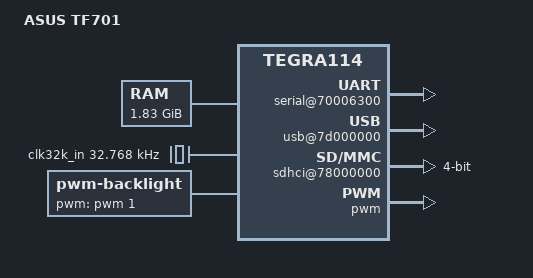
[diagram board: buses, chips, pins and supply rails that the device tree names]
/dts-v1/;

#include "tegra114.dtsi"

/ {
	model = "ASUS TF701";
	compatible = "nvidia,tegra114";

	chosen {
		/*bootargs = "console=tty1 earlyprintk ignore_loglevel gpt fbcon=rotate:1 initrd=0x82000000,0x800000";*/
		/*bootargs = "console=ttyS0,115200n8 console=tty1 earlyprintk ignore_loglevel gpt fbcon=rotate:1 initrd=0x82000000,0x800000";*/
		bootargs = "console=tty1 console=ttyS0,115200n8 earlyprintk no_console_suspend=1 gpt gpt_sector=73727";
	};

	firmware {
		trusted-foundations {
			compatible = "tlm,trusted-foundations";
			tlm,version-major = <2>;
			tlm,version-minor = <8>;
		};
	};

	memory {
		reg = <0x80000000 0x2ce00000
		       /* hole for bootloader-initialized framebuffer */
		       0xaf000000 0x48000000>;
	};


	serial@70006300 {
		status = "okay";
	};

	gpio@6000d000 {
		compatible = "nvidia,tegra114-gpio", "nvidia,tegra30-gpio";
		reg = <0x6000d000 0x1000>;
		interrupts = <0 32 0x04
				0 33 0x04
				0 34 0x04
				0 35 0x04
				0 55 0x04
				0 87 0x04
				0 89 0x04
				0 125 0x04>;
		#gpio-cells = <2>;
		gpio-controller;
		#interrupt-cells = <2>;
		interrupt-controller;
		status = "disabled";
	};


	i2c@7000c000 {
		#address-cells = <1>;
		#size-cells = <0>;
		compatible = "nvidia,tegra114-i2c";
		reg = <0x7000c000 0x100>;
		interrupts = <0 38 0x04>;
		scl-gpios = <&gpio 20 0>; /* gpio PC4 */
		sda-gpios = <&gpio 21 0>; /* gpio PC5 */
		status = "disabled";
	};

	i2c@7000d000 {
		#address-cells = <1>;
		#size-cells = <0>;
		compatible = "nvidia,tegra114-i2c";
		reg = <0x7000d000 0x100>;
		interrupts = <0 53 0x04>;
		scl-gpios = <&gpio 206 0>; /* gpio PZ6 */
		sda-gpios = <&gpio 207 0>; /* gpio PZ7 */
		status = "disabled";
	};

	pmc {
		nvidia,invert-interrupt;
	};

	usb@7d000000 {
		status = "okay";
	};

	/* Wifi */
	sdhci@78000000 {
		status = "okay";
		bus-width = <4>;
		broken-cd;
		keep-power-in-suspend;
	};


	clocks {
		compatible = "simple-bus";
		#address-cells = <1>;
		#size-cells = <0>;

		clk32k_in: clock {
			compatible = "fixed-clock";
			reg=<0>;
			#clock-cells = <0>;
			clock-frequency = <32768>;
		};
	};

	fb@ace23000{
		compatible = "simple-framebuffer";
		reg = <0xace23000 0x01f68000>;
		width = <1600>;
		height = <2560>;
		stride = <(2560 * 4)>;
		format = "a8b8g8r8";
	};

	backlight {
		compatible = "pwm-backlight";
		pwms = <&pwm 1 40000>;

		brightness-levels = <0 16 32 48 64 80 96 112 128 144 160 176 192 208 224 240 255>;
		default-brightness-level = <10>;
	};

	pwm: pwm {
		status = "okay";
	};
};
